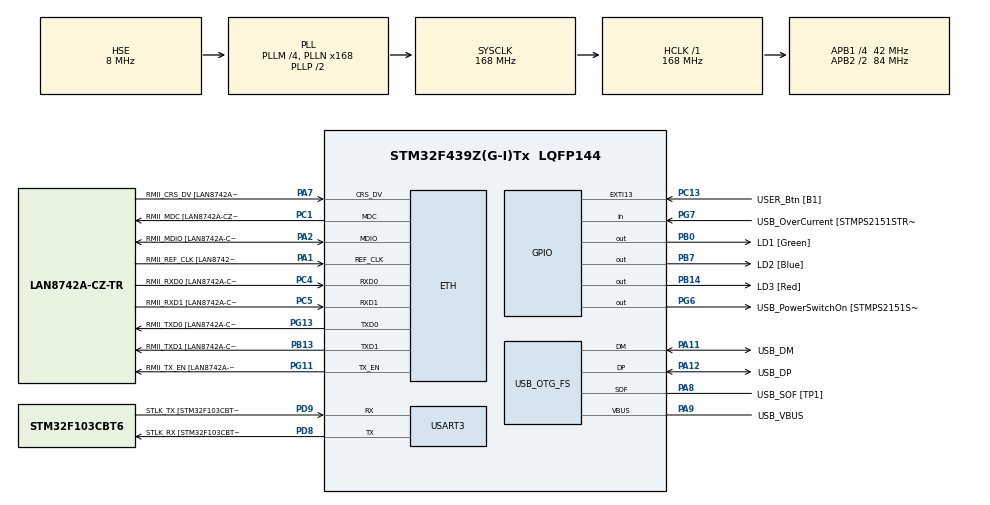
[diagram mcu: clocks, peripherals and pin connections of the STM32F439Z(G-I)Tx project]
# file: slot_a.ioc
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ETH.MediaInterface=HAL_ETH_RMII_MODE
ETH.PHY_Name=LAN8742A_PHY_ADDRESS
ETH.PHY_Value=0
ETH.PhyAddress=0
LWIP.BSP.number=1
LWIP.Version=v2.1.2_Cube
LWIP0.BSP.STBoard=false
LWIP0.BSP.api=BSP_COMPONENT_DRIVER
LWIP0.BSP.component=LAN8742
LWIP0.BSP.instance=LAN8742
LWIP0.BSP.name=Driver_PHY
LWIP0.BSP.semaphore=S_LAN8742
LWIP0.BSP.solution=LAN8742
Mcu.Family=STM32F4
Mcu.Name=STM32F439Z(G-I)Tx
Mcu.Package=LQFP144
NVIC.PriorityGroup=NVIC_PRIORITYGROUP_4
PA1.GPIO_Label=RMII_REF_CLK [LAN8742A-CZ-TR_REFCLK0]
PA1.Mode=RMII
PA1.Signal=ETH_REF_CLK
PA10.GPIO_Label=USB_ID
PA10.Signal=USB_OTG_FS_ID
PA11.GPIO_Label=USB_DM
PA11.Mode=Device_Only
PA11.Signal=USB_OTG_FS_DM
PA12.GPIO_Label=USB_DP
PA12.Mode=Device_Only
PA12.Signal=USB_OTG_FS_DP
PA13.GPIO_Label=TMS
PA13.Mode=Serial_Wire
PA13.Signal=SYS_JTMS-SWDIO
PA14.GPIO_Label=TCK
PA14.Mode=Serial_Wire
PA14.Signal=SYS_JTCK-SWCLK
PA2.GPIO_Label=RMII_MDIO [LAN8742A-CZ-TR_MDIO]
PA2.Mode=RMII
PA2.Signal=ETH_MDIO
PA7.GPIO_Label=RMII_CRS_DV [LAN8742A-CZ-TR_CRS_DV]
PA7.Mode=RMII
PA7.Signal=ETH_CRS_DV
PA8.GPIO_Label=USB_SOF [TP1]
PA8.Mode=Activate_SOF_FS
PA8.Signal=USB_OTG_FS_SOF
PA9.GPIO_Label=USB_VBUS
PA9.Mode=Activate_VBUS
PA9.Signal=USB_OTG_FS_VBUS
PB0.GPIO_Label=LD1 [Green]
PB0.Signal=GPIO_Output
PB13.GPIO_Label=RMII_TXD1 [LAN8742A-CZ-TR_TXD1]
PB13.Mode=RMII
PB13.Signal=ETH_TXD1
PB14.GPIO_Label=LD3 [Red]
PB14.Signal=GPIO_Output
PB7.GPIO_Label=LD2 [Blue]
PB7.Signal=GPIO_Output
PC1.GPIO_Label=RMII_MDC [LAN8742A-CZ-TR_MDC]
PC1.Mode=RMII
PC1.Signal=ETH_MDC
PC13.GPIO_Label=USER_Btn [B1]
PC13.Signal=GPXTI13
PC14/OSC32_IN.Mode=LSE-External-Oscillator
PC14/OSC32_IN.Signal=RCC_OSC32_IN
PC15/OSC32_OUT.Mode=LSE-External-Oscillator
PC15/OSC32_OUT.Signal=RCC_OSC32_OUT
PC4.GPIO_Label=RMII_RXD0 [LAN8742A-CZ-TR_RXD0]
PC4.Mode=RMII
PC4.Signal=ETH_RXD0
PC5.GPIO_Label=RMII_RXD1 [LAN8742A-CZ-TR_RXD1]
PC5.Mode=RMII
PC5.Signal=ETH_RXD1
PD8.GPIO_Label=STLK_RX [STM32F103CBT6_PA3]
PD8.Mode=Asynchronous
PD8.Signal=USART3_TX
PD9.GPIO_Label=STLK_TX [STM32F103CBT6_PA2]
PD9.Mode=Asynchronous
PD9.Signal=USART3_RX
PG11.GPIO_Label=RMII_TX_EN [LAN8742A-CZ-TR_TXEN]
PG11.Mode=RMII
PG11.Signal=ETH_TX_EN
PG13.GPIO_Label=RMII_TXD0 [LAN8742A-CZ-TR_TXD0]
PG13.Mode=RMII
PG13.Signal=ETH_TXD0
PG6.GPIO_Label=USB_PowerSwitchOn [STMPS2151STR_EN]
PG6.Signal=GPIO_Output
PG7.GPIO_Label=USB_OverCurrent [STMPS2151STR_FAULT]
PG7.Signal=GPIO_Input
PH0/OSC_IN.GPIO_Label=MCO [STM32F103CBT6_PA8]
PH0/OSC_IN.Mode=HSE-External-Clock-Source
PH0/OSC_IN.Signal=RCC_OSC_IN
PH1/OSC_OUT.Mode=HSE-External-Clock-Source
PH1/OSC_OUT.Signal=RCC_OSC_OUT
ProjectManager.HeapSize=0x200
ProjectManager.StackSize=0x400
ProjectManager.TargetToolchain=STM32CubeIDE
RCC.48MHZClocksFreq_Value=48000000
RCC.AHBFreq_Value=168000000
RCC.APB1CLKDivider=RCC_HCLK_DIV4
RCC.APB1Freq_Value=42000000
RCC.APB1TimFreq_Value=84000000
RCC.APB2CLKDivider=RCC_HCLK_DIV2
RCC.APB2Freq_Value=84000000
RCC.APB2TimCLKDivider=2
RCC.APB2TimFreq_Value=168000000
RCC.CortexFreq_Value=168000000
RCC.HCLKFreq_Value=168000000
RCC.HSE_VALUE=8000000
RCC.HSI_VALUE=16000000
RCC.PLLM=4
RCC.PLLMUL=RCC_PLL_MUL9
RCC.PLLN=168
RCC.PLLQ=7
RCC.PRESCALERUSB=RCC_USBCLKSOURCE_PLL_DIV1_5
RCC.SYSCLKFreq_VALUE=168000000
RCC.SYSCLKSource=RCC_SYSCLKSOURCE_PLLCLK
RCC.SYSCLKSourceVirtual=RCC_SYSCLKSOURCE_PLLCLK
RCC.USBFreq_Value=48000000
RCC.VCOOutputFreq_Value=336000000
USART3.VirtualMode=VM_ASYNC
USB_OTG_FS.VirtualMode=Device_Only
VP_LWIP_VS_Enabled.Mode=Enabled
board=NUCLEO-F439ZI

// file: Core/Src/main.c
/* USER CODE BEGIN Header */
/**
  ******************************************************************************
  * @file           : main.c
  * @brief          : Main program body
  ******************************************************************************
  * @attention
  *
  * Copyright (c) 2026 STMicroelectronics.
  * All rights reserved.
  *
  * This software is licensed under terms that can be found in the LICENSE file
  * in the root directory of this software component.
  * If no LICENSE file comes with this software, it is provided AS-IS.
  *
  ******************************************************************************
  */
/* USER CODE END Header */
#include "main.h"
#include "lwip.h"

/* USER CODE BEGIN Includes */
#include <stdio.h>
#include "lwip/netif.h"
#include "lwip/ip4_addr.h"
#include "lwip/dhcp.h"

#include "http_client.h"
/* USER CODE END Includes */

UART_HandleTypeDef huart3;

PCD_HandleTypeDef hpcd_USB_OTG_FS;

/* USER CODE BEGIN PV */
extern struct netif gnetif;
static uint8_t http_started = 0;
/* USER CODE END PV */

void SystemClock_Config(void);
static void MX_GPIO_Init(void);
static void MX_USART3_UART_Init(void);
static void MX_USB_OTG_FS_PCD_Init(void);

/* USER CODE BEGIN 0 */
int __io_putchar(int ch)
{
    /* Place your implementation of fputc here */
    /* e.g. write a character to the USART3 and Loop until the end of transmission */
    HAL_UART_Transmit(&huart3, (uint8_t *)&ch, 1, 0xFFFF);

    return ch;
}
/* USER CODE END 0 */

int main(void)
{

  /* MCU Configuration--------------------------------------------------------*/

  /* Reset of all peripherals, Initializes the Flash interface and the Systick. */
  HAL_Init();

  /* Configure the system clock */
  SystemClock_Config();

  /* USER CODE BEGIN SysInit */
  CoreDebug->DEMCR |= CoreDebug_DEMCR_TRCENA_Msk;
  DWT->CYCCNT = 0;
  DWT->CTRL |= DWT_CTRL_CYCCNTENA_Msk;
  /* USER CODE END SysInit */

  /* Initialize all configured peripherals */
  MX_GPIO_Init();
  MX_USART3_UART_Init();
  MX_USB_OTG_FS_PCD_Init();
  MX_LWIP_Init();
  /* USER CODE BEGIN 2 */
  printf("Slot A is booted.\r\n");
  /* USER CODE END 2 */

  /* Infinite loop */
  /* USER CODE BEGIN WHILE */
  while (1)
  {
	  MX_LWIP_Process();

	  static uint32_t last_ip = 0;
	  static uint8_t last_dhcp_state = 0xFF;
	  static uint32_t last_print = 0;

	  uint32_t current_ip = netif_ip4_addr(&gnetif)->addr;
	  struct dhcp *dhcp = netif_dhcp_data(&gnetif);

	  if (dhcp && dhcp->state != last_dhcp_state)
	  {
	    last_dhcp_state = dhcp->state;
	    printf("DHCP state = %d\r\n", dhcp->state);
	  }

	  if (current_ip != 0 && current_ip != last_ip)
	  {
	    last_ip = current_ip;
	    printf("DHCP IP acquired!\r\n");
	    printf("IP: %s\r\n", ip4addr_ntoa(netif_ip4_addr(&gnetif)));
	    printf("MASK: %s\r\n", ip4addr_ntoa(netif_ip4_netmask(&gnetif)));
	    printf("GW: %s\r\n", ip4addr_ntoa(netif_ip4_gw(&gnetif)));

	    if (!http_started)
	    {
	        http_started = 1;
	        http_client_start();
	    }
	  }

//	  if (HAL_GetTick() - last_print >= 2000)
//	  {
//	    last_print = HAL_GetTick();
//	    printf("link=%d ip=%s\r\n",
//	           netif_is_link_up(&gnetif),
//	           ip4addr_ntoa(netif_ip4_addr(&gnetif)));
//	  }
    /* USER CODE END WHILE */

  }
}

void SystemClock_Config(void)
{
  RCC_OscInitTypeDef RCC_OscInitStruct = {0};
  RCC_ClkInitTypeDef RCC_ClkInitStruct = {0};

  /** Configure the main internal regulator output voltage
  */
  __HAL_RCC_PWR_CLK_ENABLE();
  __HAL_PWR_VOLTAGESCALING_CONFIG(PWR_REGULATOR_VOLTAGE_SCALE1);

  /** Initializes the RCC Oscillators according to the specified parameters
  * in the RCC_OscInitTypeDef structure.
  */
  RCC_OscInitStruct.OscillatorType = RCC_OSCILLATORTYPE_HSE;
  RCC_OscInitStruct.HSEState = RCC_HSE_BYPASS;
  RCC_OscInitStruct.PLL.PLLState = RCC_PLL_ON;
  RCC_OscInitStruct.PLL.PLLSource = RCC_PLLSOURCE_HSE;
  RCC_OscInitStruct.PLL.PLLM = 4;
  RCC_OscInitStruct.PLL.PLLN = 168;
  RCC_OscInitStruct.PLL.PLLP = RCC_PLLP_DIV2;
  RCC_OscInitStruct.PLL.PLLQ = 7;
  if (HAL_RCC_OscConfig(&RCC_OscInitStruct) != HAL_OK)
  {
    Error_Handler();
  }

  /** Initializes the CPU, AHB and APB buses clocks
  */
  RCC_ClkInitStruct.ClockType = RCC_CLOCKTYPE_HCLK|RCC_CLOCKTYPE_SYSCLK
                              |RCC_CLOCKTYPE_PCLK1|RCC_CLOCKTYPE_PCLK2;
  RCC_ClkInitStruct.SYSCLKSource = RCC_SYSCLKSOURCE_PLLCLK;
  RCC_ClkInitStruct.AHBCLKDivider = RCC_SYSCLK_DIV1;
  RCC_ClkInitStruct.APB1CLKDivider = RCC_HCLK_DIV4;
  RCC_ClkInitStruct.APB2CLKDivider = RCC_HCLK_DIV2;

  if (HAL_RCC_ClockConfig(&RCC_ClkInitStruct, FLASH_LATENCY_5) != HAL_OK)
  {
    Error_Handler();
  }
}

static void MX_USART3_UART_Init(void)
{

  huart3.Instance = USART3;
  huart3.Init.BaudRate = 115200;
  huart3.Init.WordLength = UART_WORDLENGTH_8B;
  huart3.Init.StopBits = UART_STOPBITS_1;
  huart3.Init.Parity = UART_PARITY_NONE;
  huart3.Init.Mode = UART_MODE_TX_RX;
  huart3.Init.HwFlowCtl = UART_HWCONTROL_NONE;
  huart3.Init.OverSampling = UART_OVERSAMPLING_16;
  if (HAL_UART_Init(&huart3) != HAL_OK)
  {
    Error_Handler();
  }

}

static void MX_USB_OTG_FS_PCD_Init(void)
{

  hpcd_USB_OTG_FS.Instance = USB_OTG_FS;
  hpcd_USB_OTG_FS.Init.dev_endpoints = 4;
  hpcd_USB_OTG_FS.Init.speed = PCD_SPEED_FULL;
  hpcd_USB_OTG_FS.Init.dma_enable = DISABLE;
  hpcd_USB_OTG_FS.Init.phy_itface = PCD_PHY_EMBEDDED;
  hpcd_USB_OTG_FS.Init.Sof_enable = ENABLE;
  hpcd_USB_OTG_FS.Init.low_power_enable = DISABLE;
  hpcd_USB_OTG_FS.Init.lpm_enable = DISABLE;
  hpcd_USB_OTG_FS.Init.vbus_sensing_enable = ENABLE;
  hpcd_USB_OTG_FS.Init.use_dedicated_ep1 = DISABLE;
  if (HAL_PCD_Init(&hpcd_USB_OTG_FS) != HAL_OK)
  {
    Error_Handler();
  }

}

static void MX_GPIO_Init(void)
{
  GPIO_InitTypeDef GPIO_InitStruct = {0};

  /* GPIO Ports Clock Enable */
  __HAL_RCC_GPIOC_CLK_ENABLE();
  __HAL_RCC_GPIOH_CLK_ENABLE();
  __HAL_RCC_GPIOA_CLK_ENABLE();
  __HAL_RCC_GPIOB_CLK_ENABLE();
  __HAL_RCC_GPIOD_CLK_ENABLE();
  __HAL_RCC_GPIOG_CLK_ENABLE();

  /*Configure GPIO pin Output Level */
  HAL_GPIO_WritePin(GPIOB, LD1_Pin|LD3_Pin|LD2_Pin, GPIO_PIN_RESET);

  /*Configure GPIO pin Output Level */
  HAL_GPIO_WritePin(USB_PowerSwitchOn_GPIO_Port, USB_PowerSwitchOn_Pin, GPIO_PIN_RESET);

  /*Configure GPIO pin : USER_Btn_Pin */
  GPIO_InitStruct.Pin = USER_Btn_Pin;
  GPIO_InitStruct.Mode = GPIO_MODE_IT_RISING;
  GPIO_InitStruct.Pull = GPIO_NOPULL;
  HAL_GPIO_Init(USER_Btn_GPIO_Port, &GPIO_InitStruct);

  /*Configure GPIO pins : LD1_Pin LD3_Pin LD2_Pin */
  GPIO_InitStruct.Pin = LD1_Pin|LD3_Pin|LD2_Pin;
  GPIO_InitStruct.Mode = GPIO_MODE_OUTPUT_PP;
  GPIO_InitStruct.Pull = GPIO_NOPULL;
  GPIO_InitStruct.Speed = GPIO_SPEED_FREQ_LOW;
  HAL_GPIO_Init(GPIOB, &GPIO_InitStruct);

  /*Configure GPIO pin : USB_PowerSwitchOn_Pin */
  GPIO_InitStruct.Pin = USB_PowerSwitchOn_Pin;
  GPIO_InitStruct.Mode = GPIO_MODE_OUTPUT_PP;
  GPIO_InitStruct.Pull = GPIO_NOPULL;
  GPIO_InitStruct.Speed = GPIO_SPEED_FREQ_LOW;
  HAL_GPIO_Init(USB_PowerSwitchOn_GPIO_Port, &GPIO_InitStruct);

  /*Configure GPIO pin : USB_OverCurrent_Pin */
  GPIO_InitStruct.Pin = USB_OverCurrent_Pin;
  GPIO_InitStruct.Mode = GPIO_MODE_INPUT;
  GPIO_InitStruct.Pull = GPIO_NOPULL;
  HAL_GPIO_Init(USB_OverCurrent_GPIO_Port, &GPIO_InitStruct);

}

void Error_Handler(void)
{
  __disable_irq();
  while (1)
  {
  }
}
